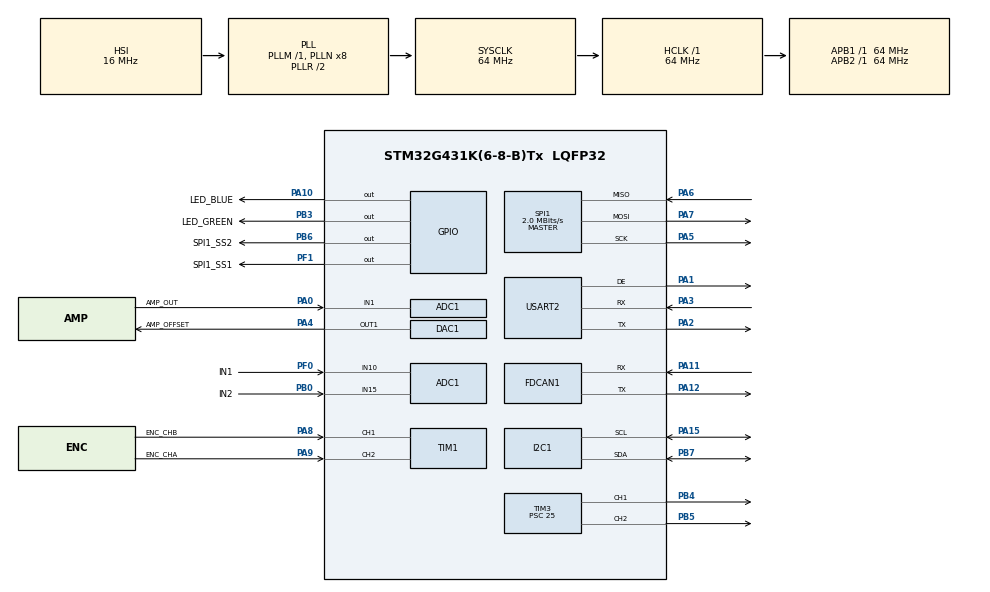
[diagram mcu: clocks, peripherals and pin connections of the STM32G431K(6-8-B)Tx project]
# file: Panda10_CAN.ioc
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Mcu.Family=STM32G4
NVIC.ADC1_2_IRQn=true\:0\:0\:false\:false\:true\:true\:true
TIM7.PeriodNoDither=100
PA6.Mode=Full_Duplex_Master
RCC.CortexFreq_Value=64000000
SPI1.VirtualType=VM_MASTER
ADC1.ContinuousConvMode=ENABLE
Dma.ADC1.0.Polarity=HAL_DMAMUX_REQ_GEN_RISING
PA0.GPIO_Label=AMP_OUT
PA11.Mode=FDCAN_Activate
PB0.GPIO_Label=IN2
PB6.GPIO_Label=SPI1_SS2
RCC.SYSCLKSource=RCC_SYSCLKSOURCE_PLLCLK
ProjectManager.StackSize=0x400
VP_TIM7_VS_ClockSourceINT.Mode=Enable_Timer
PA12.Signal=FDCAN1_TX
SPI1.CLKPolarity=SPI_POLARITY_HIGH
SPI1.Direction=SPI_DIRECTION_2LINES
RCC.HCLKFreq_Value=64000000
RCC.APB2TimFreq_Value=64000000
PB6.Signal=GPIO_Output
Dma.ADC1.0.Direction=DMA_PERIPH_TO_MEMORY
ADC1.Channel-2\#ChannelRegularConversion=ADC_CHANNEL_1
SPI1.CalculateBaudRate=2.0 MBits/s
Dma.ADC1.0.MemDataAlignment=DMA_MDATAALIGN_HALFWORD
RCC.AHBFreq_Value=64000000
TIM3.Channel-PWM\ Generation1\ CH1=TIM_CHANNEL_1
ADC1.Channel-0\#ChannelRegularConversion=ADC_CHANNEL_10
RCC.HSE_VALUE=8000000
PF0-OSC_IN.GPIO_Label=IN1
USART2.VirtualMode-Asynchronous=VM_ASYNC
PA15.Mode=I2C
RCC.ADC12Freq_Value=64000000
ADC1.Rank-2\#ChannelRegularConversion=3
PA14.Mode=Serial_Wire
TIM3.Prescaler=25
Dma.ADC1.0.PeriphInc=DMA_PINC_DISABLE
FDCAN1.NominalPrescaler=400
SPI1.DataSize=SPI_DATASIZE_8BIT
PA10.GPIO_Label=LED_BLUE
PA0.Mode=IN1-Single-Ended
VP_SYS_VS_DBSignals.Mode=DisableDeadBatterySignals
PB7.Signal=I2C1_SDA
PA8.Signal=S_TIM1_CH1
SH.S_TIM3_CH1.0=TIM3_CH1,PWM Generation1 CH1
ADC1.SamplingTime-0\#ChannelRegularConversion=ADC_SAMPLETIME_640CYCLES_5
FDCAN1.NominalTimeSeg1=13
PA0.Signal=ADC1_IN1
Mcu.Package=LQFP32
PA6.Signal=SPI1_MISO
ADC1.OversamplingMode=ENABLE
PA10.Signal=GPIO_Output
PA15.Signal=I2C1_SCL
ADC1.OffsetNumber-1\#ChannelRegularConversion=ADC_OFFSET_NONE
FDCAN1.DataTimeSeg2=2
FDCAN1.DataTimeSeg1=13
RCC.APB1TimFreq_Value=64000000
RCC.CK48CLockSelection=RCC_USBCLKSOURCE_HSI48
Dma.Request0=ADC1
SPI1.BaudRatePrescaler=SPI_BAUDRATEPRESCALER_32
PA4.GPIO_Label=AMP_OFFSET
NVIC.TIM7_IRQn=true\:0\:0\:false\:false\:true\:true\:true
PF1-OSC_OUT.Signal=GPIO_Output
Dma.ADC1.0.EventEnable=DISABLE
RCC.HSI48_VALUE=48000000
PB4.Signal=S_TIM3_CH1
PA3.Signal=USART2_RX
NVIC.FDCAN1_IT0_IRQn=true\:0\:0\:false\:false\:true\:true\:true
PA5.Mode=Full_Duplex_Master
PB3.GPIO_Label=LED_GREEN
Dma.ADC1.0.Instance=DMA1_Channel1
ADC1.Rank-0\#ChannelRegularConversion=1
PA7.Mode=Full_Duplex_Master
Dma.ADC1.0.SyncRequestNumber=1
USART2.VirtualMode-Hardware\ Flow\ Control\ (RS485)=VM_ASYNC
ADC1.OffsetNumber-0\#ChannelRegularConversion=ADC_OFFSET_NONE
PA9.GPIO_Label=ENC_CHA
RCC.EXTERNAL_CLOCK_VALUE=12288000
SPI1.CLKPhase=SPI_PHASE_2EDGE
PA9.GPIO_PuPd=GPIO_PULLUP
ADC1.SamplingTime-2\#ChannelRegularConversion=ADC_SAMPLETIME_640CYCLES_5
PA13.Signal=SYS_JTMS-SWDIO
PA3.Mode=Asynchronous
Dma.ADC1.0.PeriphDataAlignment=DMA_PDATAALIGN_HALFWORD
PA8.GPIO_Label=ENC_CHB
SH.S_TIM1_CH1.0=TIM1_CH1,Encoder_Interface
ProjectManager.TargetToolchain=STM32CubeIDE
Dma.ADC1.0.Mode=DMA_CIRCULAR
SH.COMP_DAC11_group.0=DAC1_OUT1,DAC_OUT1
Dma.ADC1.0.SignalID=NONE
Dma.ADC1.0.SyncSignalID=NONE
Dma.ADC1.0.Priority=DMA_PRIORITY_LOW
PA9.Signal=S_TIM1_CH2
ADC1.Channel-1\#ChannelRegularConversion=ADC_CHANNEL_15
I2C1.Timing=0x10707DBC
RCC.USBFreq_Value=48000000
ADC1.Ratio=ADC_OVERSAMPLING_RATIO_16
RCC.LSE_VALUE=32768
PA1.Signal=USART2_DE
PF0-OSC_IN.Mode=IN10-Single-Ended
PA5.Signal=SPI1_SCK
SH.S_TIM3_CH2.0=TIM3_CH2,PWM Generation2 CH2
PB0.Mode=IN15-Single-Ended
TIM7.Prescaler=64000
board=custom
RCC.VCOOutputFreq_Value=128000000
Dma.ADC1.0.SyncPolarity=HAL_DMAMUX_SYNC_NO_EVENT
RCC.APB2Freq_Value=64000000
PA1.Mode=Hardware Flow Control (RS485)
SH.S_TIM1_CH2.0=TIM1_CH2,Encoder_Interface
SPI1.Mode=SPI_MODE_MASTER
PF1-OSC_OUT.GPIO_Label=SPI1_SS1
ADC1.DMAContinuousRequests=ENABLE
ADC1.NbrOfConversion=3
PA13.Mode=Serial_Wire
ADC1.OffsetNumber-2\#ChannelRegularConversion=ADC_OFFSET_NONE
Mcu.Name=STM32G431K(6-8-B)Tx
PA2.Signal=USART2_TX
PB3.Signal=GPIO_Output
PA4.Signal=COMP_DAC11_group
ADC1.SamplingTime-1\#ChannelRegularConversion=ADC_SAMPLETIME_640CYCLES_5
RCC.SYSCLKFreq_VALUE=64000000
PB5.Signal=S_TIM3_CH2
ADC1.master=1
PA12.Mode=FDCAN_Activate
ADC1.Rank-1\#ChannelRegularConversion=2
Dma.ADC1.0.RequestNumber=1
PB7.Mode=I2C
PA11.Signal=FDCAN1_RX
Dma.ADC1.0.SyncEnable=DISABLE
PA14.Signal=SYS_JTCK-SWCLK
Dma.ADC1.0.MemInc=DMA_MINC_ENABLE
ProjectManager.HeapSize=0x200
RCC.HSI_VALUE=16000000
PA8.GPIO_PuPd=GPIO_PULLUP
NVIC.PriorityGroup=NVIC_PRIORITYGROUP_4
ADC1.NbrOfConversionFlag=1
TIM3.Channel-PWM\ Generation2\ CH2=TIM_CHANNEL_2
PA2.Mode=Asynchronous
NVIC.DMA1_Channel1_IRQn=true\:0\:0\:false\:false\:true\:false\:true
PF0-OSC_IN.Signal=ADC1_IN10
RCC.APB1Freq_Value=64000000
PB0.Signal=ADC1_IN15
PA7.Signal=SPI1_MOSI

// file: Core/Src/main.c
/* USER CODE BEGIN Header */
/**
  ******************************************************************************
  * @file           : main.c
  * @brief          : Main program body
  ******************************************************************************
  * @attention
  *
  * <h2><center>&copy; Copyright (c) 2021 STMicroelectronics.
  * All rights reserved.</center></h2>
  *
  * This software component is licensed by ST under BSD 3-Clause license,
  * the "License"; You may not use this file except in compliance with the
  * License. You may obtain a copy of the License at:
  *                        opensource.org/licenses/BSD-3-Clause
  *
  ******************************************************************************
  */
/* USER CODE END Header */
#include "main.h"

/* USER CODE BEGIN Includes */
#include "spi_devices.h"
#include "outputs.h"
#include "acquisition.h"
//#include "panda_usb_device.h"
/* USER CODE END Includes */

ADC_HandleTypeDef hadc1;
DMA_HandleTypeDef hdma_adc1;

DAC_HandleTypeDef hdac1;

FDCAN_HandleTypeDef hfdcan1;

I2C_HandleTypeDef hi2c1;

SPI_HandleTypeDef hspi1;

TIM_HandleTypeDef htim1;
TIM_HandleTypeDef htim3;
TIM_HandleTypeDef htim7;

UART_HandleTypeDef huart2;

/* USER CODE BEGIN PV */
FDCAN_FilterTypeDef canFilterConfig;
FDCAN_TxHeaderTypeDef canHeaderConfig;
FDCAN_RxHeaderTypeDef RxHeader;
uint8_t rx_data[16];
uint8_t can_data[3];
uint8_t can_received = 0;
/* USER CODE END PV */

void SystemClock_Config(void);
static void MX_GPIO_Init(void);
static void MX_DMA_Init(void);
static void MX_SPI1_Init(void);
static void MX_ADC1_Init(void);
static void MX_DAC1_Init(void);
static void MX_I2C1_Init(void);
static void MX_TIM1_Init(void);
static void MX_USART2_UART_Init(void);
static void MX_TIM7_Init(void);
static void MX_TIM3_Init(void);
static void MX_FDCAN1_Init(void);
/* USER CODE BEGIN PFP */

static void CAN_Configure(void);

/* USER CODE END PFP */

/* USER CODE BEGIN 0 */
int16_t counter = 127;
int8_t dir = 1;
uint8_t got_rx = 0;
/* USER CODE END 0 */

int main(void)
{

  /* MCU Configuration--------------------------------------------------------*/

  /* Reset of all peripherals, Initializes the Flash interface and the Systick. */
  HAL_Init();

  /* Configure the system clock */
  SystemClock_Config();

  /* Initialize all configured peripherals */
  MX_GPIO_Init();
  MX_DMA_Init();
  MX_SPI1_Init();
  MX_ADC1_Init();
  MX_DAC1_Init();
  MX_I2C1_Init();
  MX_TIM1_Init();
  MX_USART2_UART_Init();
  MX_TIM7_Init();
  MX_TIM3_Init();
  MX_FDCAN1_Init();
  /* USER CODE BEGIN 2 */
  outputsInit(&htim7, &htim3);
  spiInit(&hspi1);
  statusLedBlink();
  acquisitionInit(&hadc1, &htim1, &hdac1);
  CAN_Configure();
  HAL_FDCAN_Start(&hfdcan1);
  HAL_FDCAN_ActivateNotification(&hfdcan1, FDCAN_IT_RX_FIFO0_NEW_MESSAGE, 0);

  can_data[1] = 77;

  /* USER CODE END 2 */

  /* Infinite loop */
  /* USER CODE BEGIN WHILE */
  while (1)
  {

//	usbController();
	userLedController();
	HAL_Delay(200);
	counter += dir;
	if (counter == 192){
		dir = -1;
	}else if(counter == 64){
		dir = 1;
	}
//	setUserOutDuty(1, counter);
//	setUserOutDuty(2, counter);
	if(got_rx){
		HAL_Delay(1000);
		got_rx = 0;
		statusLedBlink();
	}
if(((HAL_GetTick() > 2500)&&(can_received == 0))|| (HAL_GetTick() < 1000)){
	can_data[0] = counter;
	userLedMode(1);
	HAL_FDCAN_AddMessageToTxFifoQ(&hfdcan1, &canHeaderConfig, can_data);
	HAL_Delay(100);
	userLedMode(0);
  }
    /* USER CODE END WHILE */

  }
}

void SystemClock_Config(void)
{
  RCC_OscInitTypeDef RCC_OscInitStruct = {0};
  RCC_ClkInitTypeDef RCC_ClkInitStruct = {0};
  RCC_PeriphCLKInitTypeDef PeriphClkInit = {0};

  /** Configure the main internal regulator output voltage
  */
  HAL_PWREx_ControlVoltageScaling(PWR_REGULATOR_VOLTAGE_SCALE1);
  /** Initializes the RCC Oscillators according to the specified parameters
  * in the RCC_OscInitTypeDef structure.
  */
  RCC_OscInitStruct.OscillatorType = RCC_OSCILLATORTYPE_HSI;
  RCC_OscInitStruct.HSIState = RCC_HSI_ON;
  RCC_OscInitStruct.HSICalibrationValue = RCC_HSICALIBRATION_DEFAULT;
  RCC_OscInitStruct.PLL.PLLState = RCC_PLL_ON;
  RCC_OscInitStruct.PLL.PLLSource = RCC_PLLSOURCE_HSI;
  RCC_OscInitStruct.PLL.PLLM = RCC_PLLM_DIV1;
  RCC_OscInitStruct.PLL.PLLN = 8;
  RCC_OscInitStruct.PLL.PLLP = RCC_PLLP_DIV2;
  RCC_OscInitStruct.PLL.PLLQ = RCC_PLLQ_DIV2;
  RCC_OscInitStruct.PLL.PLLR = RCC_PLLR_DIV2;
  if (HAL_RCC_OscConfig(&RCC_OscInitStruct) != HAL_OK)
  {
    Error_Handler();
  }
  /** Initializes the CPU, AHB and APB buses clocks
  */
  RCC_ClkInitStruct.ClockType = RCC_CLOCKTYPE_HCLK|RCC_CLOCKTYPE_SYSCLK
                              |RCC_CLOCKTYPE_PCLK1|RCC_CLOCKTYPE_PCLK2;
  RCC_ClkInitStruct.SYSCLKSource = RCC_SYSCLKSOURCE_PLLCLK;
  RCC_ClkInitStruct.AHBCLKDivider = RCC_SYSCLK_DIV1;
  RCC_ClkInitStruct.APB1CLKDivider = RCC_HCLK_DIV1;
  RCC_ClkInitStruct.APB2CLKDivider = RCC_HCLK_DIV1;

  if (HAL_RCC_ClockConfig(&RCC_ClkInitStruct, FLASH_LATENCY_1) != HAL_OK)
  {
    Error_Handler();
  }
  /** Initializes the peripherals clocks
  */
  PeriphClkInit.PeriphClockSelection = RCC_PERIPHCLK_USART2|RCC_PERIPHCLK_I2C1
                              |RCC_PERIPHCLK_ADC12|RCC_PERIPHCLK_FDCAN;
  PeriphClkInit.Usart2ClockSelection = RCC_USART2CLKSOURCE_PCLK1;
  PeriphClkInit.I2c1ClockSelection = RCC_I2C1CLKSOURCE_PCLK1;
  PeriphClkInit.FdcanClockSelection = RCC_FDCANCLKSOURCE_PCLK1;
  PeriphClkInit.Adc12ClockSelection = RCC_ADC12CLKSOURCE_SYSCLK;
  if (HAL_RCCEx_PeriphCLKConfig(&PeriphClkInit) != HAL_OK)
  {
    Error_Handler();
  }
}

static void MX_ADC1_Init(void)
{

  ADC_MultiModeTypeDef multimode = {0};
  ADC_ChannelConfTypeDef sConfig = {0};

  /** Common config
  */
  hadc1.Instance = ADC1;
  hadc1.Init.ClockPrescaler = ADC_CLOCK_SYNC_PCLK_DIV2;
  hadc1.Init.Resolution = ADC_RESOLUTION_12B;
  hadc1.Init.DataAlign = ADC_DATAALIGN_RIGHT;
  hadc1.Init.GainCompensation = 0;
  hadc1.Init.ScanConvMode = ADC_SCAN_ENABLE;
  hadc1.Init.EOCSelection = ADC_EOC_SINGLE_CONV;
  hadc1.Init.LowPowerAutoWait = DISABLE;
  hadc1.Init.ContinuousConvMode = ENABLE;
  hadc1.Init.NbrOfConversion = 3;
  hadc1.Init.DiscontinuousConvMode = DISABLE;
  hadc1.Init.ExternalTrigConv = ADC_SOFTWARE_START;
  hadc1.Init.ExternalTrigConvEdge = ADC_EXTERNALTRIGCONVEDGE_NONE;
  hadc1.Init.DMAContinuousRequests = ENABLE;
  hadc1.Init.Overrun = ADC_OVR_DATA_PRESERVED;
  hadc1.Init.OversamplingMode = ENABLE;
  hadc1.Init.Oversampling.Ratio = ADC_OVERSAMPLING_RATIO_16;
  hadc1.Init.Oversampling.RightBitShift = ADC_RIGHTBITSHIFT_NONE;
  hadc1.Init.Oversampling.TriggeredMode = ADC_TRIGGEREDMODE_SINGLE_TRIGGER;
  hadc1.Init.Oversampling.OversamplingStopReset = ADC_REGOVERSAMPLING_CONTINUED_MODE;
  if (HAL_ADC_Init(&hadc1) != HAL_OK)
  {
    Error_Handler();
  }
  /** Configure the ADC multi-mode
  */
  multimode.Mode = ADC_MODE_INDEPENDENT;
  if (HAL_ADCEx_MultiModeConfigChannel(&hadc1, &multimode) != HAL_OK)
  {
    Error_Handler();
  }
  /** Configure Regular Channel
  */
  sConfig.Channel = ADC_CHANNEL_10;
  sConfig.Rank = ADC_REGULAR_RANK_1;
  sConfig.SamplingTime = ADC_SAMPLETIME_640CYCLES_5;
  sConfig.SingleDiff = ADC_SINGLE_ENDED;
  sConfig.OffsetNumber = ADC_OFFSET_NONE;
  sConfig.Offset = 0;
  if (HAL_ADC_ConfigChannel(&hadc1, &sConfig) != HAL_OK)
  {
    Error_Handler();
  }
  /** Configure Regular Channel
  */
  sConfig.Channel = ADC_CHANNEL_15;
  sConfig.Rank = ADC_REGULAR_RANK_2;
  if (HAL_ADC_ConfigChannel(&hadc1, &sConfig) != HAL_OK)
  {
    Error_Handler();
  }
  /** Configure Regular Channel
  */
  sConfig.Channel = ADC_CHANNEL_1;
  sConfig.Rank = ADC_REGULAR_RANK_3;
  if (HAL_ADC_ConfigChannel(&hadc1, &sConfig) != HAL_OK)
  {
    Error_Handler();
  }

}

static void MX_DAC1_Init(void)
{

  DAC_ChannelConfTypeDef sConfig = {0};

  /** DAC Initialization
  */
  hdac1.Instance = DAC1;
  if (HAL_DAC_Init(&hdac1) != HAL_OK)
  {
    Error_Handler();
  }
  /** DAC channel OUT1 config
  */
  sConfig.DAC_HighFrequency = DAC_HIGH_FREQUENCY_INTERFACE_MODE_AUTOMATIC;
  sConfig.DAC_DMADoubleDataMode = DISABLE;
  sConfig.DAC_SignedFormat = DISABLE;
  sConfig.DAC_SampleAndHold = DAC_SAMPLEANDHOLD_DISABLE;
  sConfig.DAC_Trigger = DAC_TRIGGER_NONE;
  sConfig.DAC_Trigger2 = DAC_TRIGGER_NONE;
  sConfig.DAC_OutputBuffer = DAC_OUTPUTBUFFER_ENABLE;
  sConfig.DAC_ConnectOnChipPeripheral = DAC_CHIPCONNECT_EXTERNAL;
  sConfig.DAC_UserTrimming = DAC_TRIMMING_FACTORY;
  if (HAL_DAC_ConfigChannel(&hdac1, &sConfig, DAC_CHANNEL_1) != HAL_OK)
  {
    Error_Handler();
  }

}

static void MX_FDCAN1_Init(void)
{

  hfdcan1.Instance = FDCAN1;
  hfdcan1.Init.ClockDivider = FDCAN_CLOCK_DIV1;
  hfdcan1.Init.FrameFormat = FDCAN_FRAME_CLASSIC;
  hfdcan1.Init.Mode = FDCAN_MODE_NORMAL;
  hfdcan1.Init.AutoRetransmission = DISABLE;
  hfdcan1.Init.TransmitPause = DISABLE;
  hfdcan1.Init.ProtocolException = DISABLE;
  hfdcan1.Init.NominalPrescaler = 400;
  hfdcan1.Init.NominalSyncJumpWidth = 1;
  hfdcan1.Init.NominalTimeSeg1 = 13;
  hfdcan1.Init.NominalTimeSeg2 = 2;
  hfdcan1.Init.DataPrescaler = 1;
  hfdcan1.Init.DataSyncJumpWidth = 1;
  hfdcan1.Init.DataTimeSeg1 = 13;
  hfdcan1.Init.DataTimeSeg2 = 2;
  hfdcan1.Init.StdFiltersNbr = 0;
  hfdcan1.Init.ExtFiltersNbr = 0;
  hfdcan1.Init.TxFifoQueueMode = FDCAN_TX_FIFO_OPERATION;
  if (HAL_FDCAN_Init(&hfdcan1) != HAL_OK)
  {
    Error_Handler();
  }

}

static void MX_I2C1_Init(void)
{

  hi2c1.Instance = I2C1;
  hi2c1.Init.Timing = 0x10707DBC;
  hi2c1.Init.OwnAddress1 = 0;
  hi2c1.Init.AddressingMode = I2C_ADDRESSINGMODE_7BIT;
  hi2c1.Init.DualAddressMode = I2C_DUALADDRESS_DISABLE;
  hi2c1.Init.OwnAddress2 = 0;
  hi2c1.Init.OwnAddress2Masks = I2C_OA2_NOMASK;
  hi2c1.Init.GeneralCallMode = I2C_GENERALCALL_DISABLE;
  hi2c1.Init.NoStretchMode = I2C_NOSTRETCH_DISABLE;
  if (HAL_I2C_Init(&hi2c1) != HAL_OK)
  {
    Error_Handler();
  }
  /** Configure Analogue filter
  */
  if (HAL_I2CEx_ConfigAnalogFilter(&hi2c1, I2C_ANALOGFILTER_ENABLE) != HAL_OK)
  {
    Error_Handler();
  }
  /** Configure Digital filter
  */
  if (HAL_I2CEx_ConfigDigitalFilter(&hi2c1, 0) != HAL_OK)
  {
    Error_Handler();
  }

}

static void MX_SPI1_Init(void)
{

  /* SPI1 parameter configuration*/
  hspi1.Instance = SPI1;
  hspi1.Init.Mode = SPI_MODE_MASTER;
  hspi1.Init.Direction = SPI_DIRECTION_2LINES;
  hspi1.Init.DataSize = SPI_DATASIZE_8BIT;
  hspi1.Init.CLKPolarity = SPI_POLARITY_HIGH;
  hspi1.Init.CLKPhase = SPI_PHASE_2EDGE;
  hspi1.Init.NSS = SPI_NSS_SOFT;
  hspi1.Init.BaudRatePrescaler = SPI_BAUDRATEPRESCALER_32;
  hspi1.Init.FirstBit = SPI_FIRSTBIT_MSB;
  hspi1.Init.TIMode = SPI_TIMODE_DISABLE;
  hspi1.Init.CRCCalculation = SPI_CRCCALCULATION_DISABLE;
  hspi1.Init.CRCPolynomial = 7;
  hspi1.Init.CRCLength = SPI_CRC_LENGTH_DATASIZE;
  hspi1.Init.NSSPMode = SPI_NSS_PULSE_DISABLE;
  if (HAL_SPI_Init(&hspi1) != HAL_OK)
  {
    Error_Handler();
  }

}

static void MX_TIM1_Init(void)
{

  TIM_Encoder_InitTypeDef sConfig = {0};
  TIM_MasterConfigTypeDef sMasterConfig = {0};

  htim1.Instance = TIM1;
  htim1.Init.Prescaler = 0;
  htim1.Init.CounterMode = TIM_COUNTERMODE_UP;
  htim1.Init.Period = 65535;
  htim1.Init.ClockDivision = TIM_CLOCKDIVISION_DIV1;
  htim1.Init.RepetitionCounter = 0;
  htim1.Init.AutoReloadPreload = TIM_AUTORELOAD_PRELOAD_DISABLE;
  sConfig.EncoderMode = TIM_ENCODERMODE_TI1;
  sConfig.IC1Polarity = TIM_ICPOLARITY_RISING;
  sConfig.IC1Selection = TIM_ICSELECTION_DIRECTTI;
  sConfig.IC1Prescaler = TIM_ICPSC_DIV1;
  sConfig.IC1Filter = 0;
  sConfig.IC2Polarity = TIM_ICPOLARITY_RISING;
  sConfig.IC2Selection = TIM_ICSELECTION_DIRECTTI;
  sConfig.IC2Prescaler = TIM_ICPSC_DIV1;
  sConfig.IC2Filter = 0;
  if (HAL_TIM_Encoder_Init(&htim1, &sConfig) != HAL_OK)
  {
    Error_Handler();
  }
  sMasterConfig.MasterOutputTrigger = TIM_TRGO_RESET;
  sMasterConfig.MasterOutputTrigger2 = TIM_TRGO2_RESET;
  sMasterConfig.MasterSlaveMode = TIM_MASTERSLAVEMODE_DISABLE;
  if (HAL_TIMEx_MasterConfigSynchronization(&htim1, &sMasterConfig) != HAL_OK)
  {
    Error_Handler();
  }

}

static void MX_TIM3_Init(void)
{

  TIM_MasterConfigTypeDef sMasterConfig = {0};
  TIM_OC_InitTypeDef sConfigOC = {0};

  htim3.Instance = TIM3;
  htim3.Init.Prescaler = 25;
  htim3.Init.CounterMode = TIM_COUNTERMODE_UP;
  htim3.Init.Period = 65535;
  htim3.Init.ClockDivision = TIM_CLOCKDIVISION_DIV1;
  htim3.Init.AutoReloadPreload = TIM_AUTORELOAD_PRELOAD_DISABLE;
  if (HAL_TIM_PWM_Init(&htim3) != HAL_OK)
  {
    Error_Handler();
  }
  sMasterConfig.MasterOutputTrigger = TIM_TRGO_RESET;
  sMasterConfig.MasterSlaveMode = TIM_MASTERSLAVEMODE_DISABLE;
  if (HAL_TIMEx_MasterConfigSynchronization(&htim3, &sMasterConfig) != HAL_OK)
  {
    Error_Handler();
  }
  sConfigOC.OCMode = TIM_OCMODE_PWM1;
  sConfigOC.Pulse = 0;
  sConfigOC.OCPolarity = TIM_OCPOLARITY_HIGH;
  sConfigOC.OCFastMode = TIM_OCFAST_DISABLE;
  if (HAL_TIM_PWM_ConfigChannel(&htim3, &sConfigOC, TIM_CHANNEL_1) != HAL_OK)
  {
    Error_Handler();
  }
  if (HAL_TIM_PWM_ConfigChannel(&htim3, &sConfigOC, TIM_CHANNEL_2) != HAL_OK)
  {
    Error_Handler();
  }
  HAL_TIM_MspPostInit(&htim3);

}

static void MX_TIM7_Init(void)
{

  TIM_MasterConfigTypeDef sMasterConfig = {0};

  htim7.Instance = TIM7;
  htim7.Init.Prescaler = 64000;
  htim7.Init.CounterMode = TIM_COUNTERMODE_UP;
  htim7.Init.Period = 100;
  htim7.Init.AutoReloadPreload = TIM_AUTORELOAD_PRELOAD_DISABLE;
  if (HAL_TIM_Base_Init(&htim7) != HAL_OK)
  {
    Error_Handler();
  }
  sMasterConfig.MasterOutputTrigger = TIM_TRGO_RESET;
  sMasterConfig.MasterSlaveMode = TIM_MASTERSLAVEMODE_DISABLE;
  if (HAL_TIMEx_MasterConfigSynchronization(&htim7, &sMasterConfig) != HAL_OK)
  {
    Error_Handler();
  }

}

static void MX_USART2_UART_Init(void)
{

  huart2.Instance = USART2;
  huart2.Init.BaudRate = 115200;
  huart2.Init.WordLength = UART_WORDLENGTH_8B;
  huart2.Init.StopBits = UART_STOPBITS_1;
  huart2.Init.Parity = UART_PARITY_NONE;
  huart2.Init.Mode = UART_MODE_TX_RX;
  huart2.Init.HwFlowCtl = UART_HWCONTROL_NONE;
  huart2.Init.OverSampling = UART_OVERSAMPLING_16;
  huart2.Init.OneBitSampling = UART_ONE_BIT_SAMPLE_DISABLE;
  huart2.Init.ClockPrescaler = UART_PRESCALER_DIV1;
  huart2.AdvancedInit.AdvFeatureInit = UART_ADVFEATURE_NO_INIT;
  if (HAL_RS485Ex_Init(&huart2, UART_DE_POLARITY_HIGH, 0, 0) != HAL_OK)
  {
    Error_Handler();
  }
  if (HAL_UARTEx_SetTxFifoThreshold(&huart2, UART_TXFIFO_THRESHOLD_1_8) != HAL_OK)
  {
    Error_Handler();
  }
  if (HAL_UARTEx_SetRxFifoThreshold(&huart2, UART_RXFIFO_THRESHOLD_1_8) != HAL_OK)
  {
    Error_Handler();
  }
  if (HAL_UARTEx_DisableFifoMode(&huart2) != HAL_OK)
  {
    Error_Handler();
  }

}

static void MX_DMA_Init(void)
{

  /* DMA controller clock enable */
  __HAL_RCC_DMAMUX1_CLK_ENABLE();
  __HAL_RCC_DMA1_CLK_ENABLE();

  /* DMA interrupt init */
  /* DMA1_Channel1_IRQn interrupt configuration */
  HAL_NVIC_SetPriority(DMA1_Channel1_IRQn, 0, 0);
  HAL_NVIC_EnableIRQ(DMA1_Channel1_IRQn);

}

static void MX_GPIO_Init(void)
{
  GPIO_InitTypeDef GPIO_InitStruct = {0};

  /* GPIO Ports Clock Enable */
  __HAL_RCC_GPIOF_CLK_ENABLE();
  __HAL_RCC_GPIOA_CLK_ENABLE();
  __HAL_RCC_GPIOB_CLK_ENABLE();

  /*Configure GPIO pin Output Level */
  HAL_GPIO_WritePin(SPI1_SS1_GPIO_Port, SPI1_SS1_Pin, GPIO_PIN_RESET);

  /*Configure GPIO pin Output Level */
  HAL_GPIO_WritePin(LED_BLUE_GPIO_Port, LED_BLUE_Pin, GPIO_PIN_RESET);

  /*Configure GPIO pin Output Level */
  HAL_GPIO_WritePin(GPIOB, LED_GREEN_Pin|SPI1_SS2_Pin, GPIO_PIN_RESET);

  /*Configure GPIO pin : SPI1_SS1_Pin */
  GPIO_InitStruct.Pin = SPI1_SS1_Pin;
  GPIO_InitStruct.Mode = GPIO_MODE_OUTPUT_PP;
  GPIO_InitStruct.Pull = GPIO_NOPULL;
  GPIO_InitStruct.Speed = GPIO_SPEED_FREQ_LOW;
  HAL_GPIO_Init(SPI1_SS1_GPIO_Port, &GPIO_InitStruct);

  /*Configure GPIO pin : LED_BLUE_Pin */
  GPIO_InitStruct.Pin = LED_BLUE_Pin;
  GPIO_InitStruct.Mode = GPIO_MODE_OUTPUT_PP;
  GPIO_InitStruct.Pull = GPIO_NOPULL;
  GPIO_InitStruct.Speed = GPIO_SPEED_FREQ_LOW;
  HAL_GPIO_Init(LED_BLUE_GPIO_Port, &GPIO_InitStruct);

  /*Configure GPIO pins : LED_GREEN_Pin SPI1_SS2_Pin */
  GPIO_InitStruct.Pin = LED_GREEN_Pin|SPI1_SS2_Pin;
  GPIO_InitStruct.Mode = GPIO_MODE_OUTPUT_PP;
  GPIO_InitStruct.Pull = GPIO_NOPULL;
  GPIO_InitStruct.Speed = GPIO_SPEED_FREQ_LOW;
  HAL_GPIO_Init(GPIOB, &GPIO_InitStruct);

}

/* USER CODE BEGIN 4 */
void HAL_ADC_ConvCpltCallback(ADC_HandleTypeDef* hadc){
	sendToFilter();
}

void CAN_Configure(){
	canFilterConfig.IdType = FDCAN_STANDARD_ID;
	canFilterConfig.FilterIndex = 0;
	canFilterConfig.FilterType = FDCAN_FILTER_RANGE;
	canFilterConfig.FilterConfig = FDCAN_FILTER_TO_RXFIFO0;
	canFilterConfig.FilterID1 = 0;
	canFilterConfig.FilterID2 = 100;

	if (HAL_FDCAN_ConfigFilter(&hfdcan1, &canFilterConfig) != HAL_OK){
		Error_Handler();
	}

	canHeaderConfig.Identifier = 5;
	canHeaderConfig.IdType = FDCAN_STANDARD_ID;
	canHeaderConfig.TxFrameType = FDCAN_DATA_FRAME;
	canHeaderConfig.DataLength = FDCAN_DLC_BYTES_2;
	canHeaderConfig.ErrorStateIndicator = FDCAN_ESI_PASSIVE;
	canHeaderConfig.BitRateSwitch = FDCAN_BRS_OFF;
	canHeaderConfig.FDFormat = FDCAN_CLASSIC_CAN;
	canHeaderConfig.MessageMarker = 1;

}

void HAL_FDCAN_RxFifo0Callback(FDCAN_HandleTypeDef *hfdcan, uint32_t RxFifo0ITs){
	if(HAL_GetTick() < 2000){
		can_received = 1;
	}
	HAL_FDCAN_GetRxMessage(hfdcan, FDCAN_RX_FIFO0, &RxHeader, rx_data);
	if(can_received == 0){
		statusLedOn();
		got_rx = 1;
	}
}
/* USER CODE END 4 */

void Error_Handler(void)
{
  __disable_irq();
  while (1)
  {
  }
}

/************************ (C) COPYRIGHT STMicroelectronics *****END OF FILE****/
